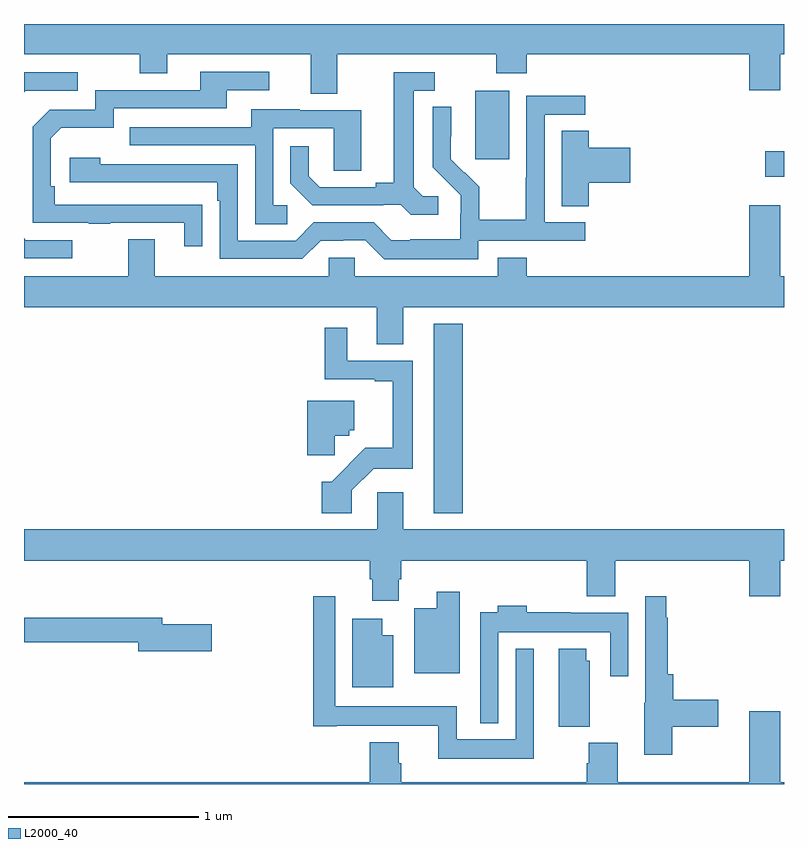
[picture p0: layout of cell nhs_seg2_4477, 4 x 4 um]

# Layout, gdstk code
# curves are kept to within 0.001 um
import gdstk
lib = gdstk.Library(unit=1e-6, precision=1e-09)
def R(c, l, rs):  # rectangles x0, y0, x1, y1
    for r in rs: c.add(gdstk.rectangle(r[:2], r[2:], *l))
def P(c, l, *ps):  # polygons
    for p in ps: c.add(gdstk.Polygon(p, *l))
L2000_40 = (2000, 40)

nhs_seg2_4477 = lib.new_cell('nhs_seg2_4477')
R(nhs_seg2_4477, L2000_40, [(355.157,641.225,355.31,642.223), (356.901,642.995,357,643.13), (355.376,643.089,355.555,643.45)])
P(nhs_seg2_4477, L2000_40, [(354.649,643.64),(355.486,643.64),(355.486,643.541),(355.646,643.541),(355.646,643.64),(356.816,643.64),(356.816,643.452),(356.98,643.452),(356.98,643.64),(357,643.64),(357,643.8),(353,643.8),(353,643.64),(353.608,643.64),(353.608,643.541),(353.755,643.541),(353.755,643.64),(354.509,643.64),(354.509,643.432),(354.649,643.432)],
  [(353.939,642.848),(353.162,642.849),(353.162,642.946),(353.142,642.946),(353.142,643.2),(353.195,643.253),(353.472,643.253),(353.472,643.356),(354.067,643.356),(354.067,643.452),(354.292,643.452),(354.292,643.548),(353.927,643.548),(353.927,643.452),(353.376,643.452),(353.376,643.35),(353.136,643.35),(353.046,643.26),(353.046,642.753),(353.341,642.753),(353.341,642.748),(353.453,642.748),(353.453,642.753),(353.843,642.753),(353.843,642.63),(353.939,642.63)],
  [(355.18,642.894),(355.098,642.894),(355.051,642.941),(355.051,643.449),(355.162,643.449),(355.162,643.545),(354.947,643.545),(354.947,642.965),(354.851,642.965),(354.851,642.942),(354.556,642.942),(354.499,642.999),(354.499,643.156),(354.402,643.156),(354.402,642.962),(354.518,642.846),(354.89,642.846),(354.89,642.849),(354.984,642.849),(355.036,642.797),(355.18,642.797)],
  [(353.007,643.449),(353.284,643.449),(353.284,643.545),(353,643.545),(353,643.442)],
  [(355.392,642.66),(355.954,642.66),(355.954,642.756),(355.74,642.756),(355.74,643.323),(355.954,643.323),(355.954,643.422),(355.644,643.422),(355.644,642.992),(355.642,642.992),(355.642,642.769),(355.397,642.769),(355.397,642.943),(355.32,643.02),(355.317,643.017),(355.247,643.088),(355.248,643.364),(355.152,643.364),(355.152,643.046),(355.298,642.898),(355.298,642.801),(355.296,642.801),(355.296,642.667),(355.033,642.667),(355.033,642.663),(354.933,642.663),(354.84,642.756),(354.525,642.756),(354.429,642.66),(354.126,642.66),(354.126,643.062),(353.402,643.062),(353.402,643.096),(353.241,643.096),(353.241,642.966),(354.017,642.966),(354.017,642.869),(354.03,642.869),(354.03,642.564),(354.465,642.564),(354.561,642.66),(354.68,642.66),(354.68,642.663),(354.795,642.663),(354.895,642.563),(355.392,642.563)],
  [(354.385,642.846),(354.312,642.846),(354.312,643.251),(354.63,643.251),(354.63,643.027),(354.775,643.027),(354.775,643.347),(354.451,643.347),(354.451,643.351),(354.197,643.351),(354.197,643.257),(353.557,643.257),(353.557,643.161),(354.216,643.161),(354.216,642.745),(354.385,642.745)],
  [(355.973,642.965),(356.191,642.965),(356.191,643.148),(355.973,643.148),(355.973,643.238),(355.829,643.238),(355.829,642.841),(355.973,642.841)],
  [(354.997,642.308),(357,642.308),(357,642.472),(356.98,642.472),(356.98,642.847),(356.816,642.847),(356.816,642.472),(355.646,642.472),(355.646,642.571),(355.493,642.571),(355.493,642.472),(354.741,642.472),(354.741,642.57),(354.603,642.57),(354.603,642.472),(353.689,642.472),(353.689,642.667),(353.549,642.667),(353.549,642.472),(353,642.472),(353,642.308),(354.857,642.308),(354.857,642.114),(354.997,642.114)],
  [(353.254,642.663),(353.01,642.663),(353,642.673),(353,642.567),(353.254,642.567)],
  [(354.726,641.346),(354.84,641.46),(355.045,641.46),(355.045,642.027),(354.7,642.027),(354.7,642.202),(354.583,642.202),(354.583,641.931),(354.845,641.931),(354.845,641.919),(354.941,641.919),(354.941,641.57),(354.797,641.57),(354.619,641.392),(354.566,641.392),(354.566,641.226),(354.726,641.226)],
  [(354.635,641.634),(354.711,641.634),(354.711,641.661),(354.739,641.661),(354.739,641.818),(354.491,641.818),(354.491,641.529),(354.635,641.529)],
  [(354.973,640.878),(354.986,640.878),(354.986,640.976),(355.961,640.976),(355.961,640.787),(356.113,640.787),(356.113,640.976),(356.816,640.976),(356.816,640.788),(356.98,640.788),(356.98,640.976),(357,640.976),(357,641.14),(354.997,641.14),(354.997,641.335),(354.858,641.335),(354.858,641.14),(353,641.14),(353,640.976),(354.821,640.976),(354.821,640.878),(354.833,640.878),(354.833,640.764),(354.973,640.764)],
  [(355.294,640.813),(355.172,640.813),(355.172,640.726),(355.055,640.726),(355.055,640.382),(355.294,640.382)],
  [(355.684,640.513),(355.587,640.513),(355.587,640.036),(355.278,640.036),(355.278,640.21),(354.639,640.21),(354.639,640.789),(354.523,640.789),(354.523,640.104),(354.646,640.104),(354.646,640.106),(355.181,640.106),(355.181,639.932),(355.684,639.932)],
  [(356.412,640.102),(356.653,640.102),(356.653,640.244),(356.417,640.244),(356.417,640.378),(356.387,640.378),(356.387,640.676),(356.38,640.676),(356.38,640.789),(356.271,640.789),(356.271,640.227),(356.264,640.227),(356.264,639.954),(356.412,639.954)],
  [(355.497,640.598),(356.085,640.598),(356.085,640.368),(356.181,640.368),(356.181,640.702),(355.877,640.702),(355.877,640.705),(355.646,640.705),(355.646,640.738),(355.493,640.738),(355.493,640.705),(355.401,640.705),(355.401,640.121),(355.497,640.121)],
  [(353.989,640.641),(353.728,640.641),(353.728,640.675),(353,640.675),(353,640.546),(353.6,640.546),(353.6,640.499),(353.989,640.499)],
  [(354.943,640.582),(354.886,640.582),(354.886,640.669),(354.728,640.669),(354.728,640.31),(354.943,640.31)],
  [(355.978,640.449),(355.96,640.449),(355.96,640.513),(355.814,640.513),(355.814,640.102),(355.978,640.102)],
  [(357,639.808),(356.98,639.808),(356.98,640.183),(356.816,640.183),(356.816,639.808),(356.126,639.808),(356.126,640.017),(355.973,640.017),(355.973,639.908),(355.961,639.908),(355.961,639.808),(354.986,639.808),(354.986,639.909),(354.973,639.909),(354.973,640.021),(354.821,640.021),(354.821,639.808),(353,639.808),(353,639.8),(357,639.8)])

lib.write_gds('nhs_seg2_4477.gds')
